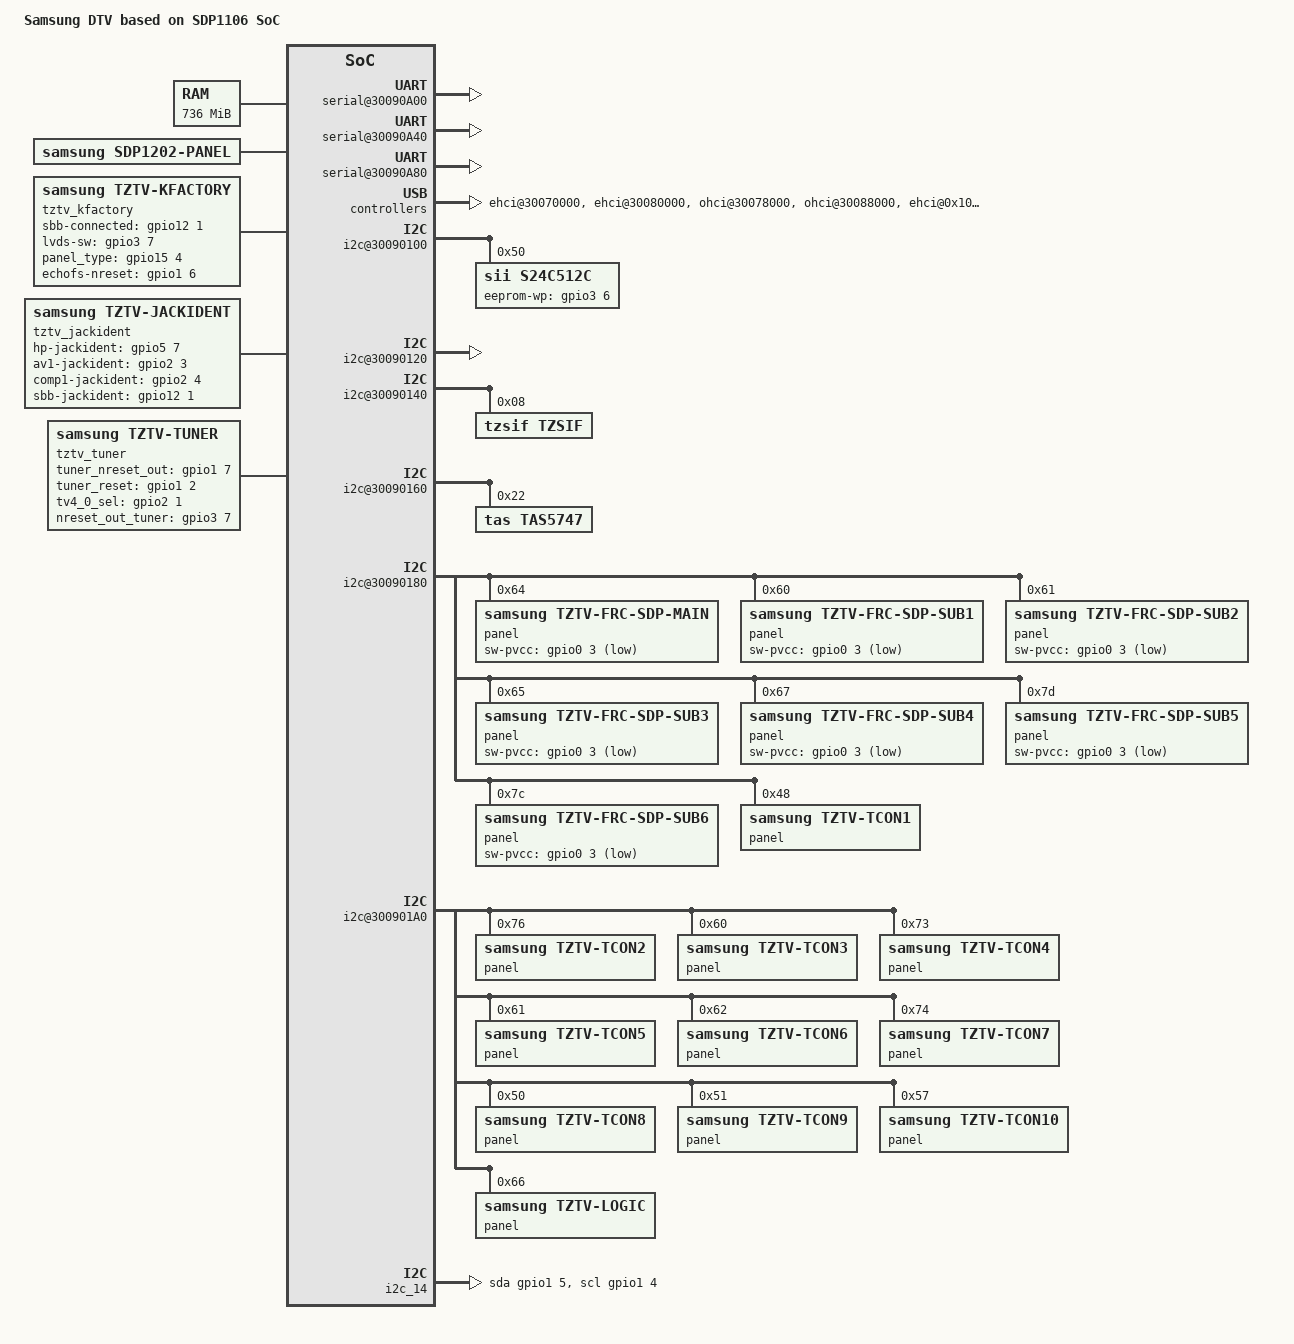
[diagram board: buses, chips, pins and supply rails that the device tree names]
/*
 * Copyright (C) 2014 Samsung Electronics Co.Ltd
 *
 * This program is free software; you can redistribute it and/or modify
 * it under the terms of the GNU General Public License version 2 as
 * published by the Free Software Foundation.
 */

/dts-v1/;
#include "sdp1106.dtsi"

/ {
	model = "Samsung DTV based on SDP1106 SoC";
	compatible = "samsung,sdp1106";

	memory {
		device_type = "memory";
		reg =  <0x40000000 0x16800000>, <0x80000000 0x8800000>, <0xA0000000 0xF000000>;
	};

	/* BEWARE: DO_NOT_TOUCH___RESERVED_SPACE_50b _must_ be at the end of the
	 * cmdline, ALWAYS! This is the RULE!
	 *
	 * Violators will be shot!
	 * Survivors will be shot again!
	 * I am not kidding.
	 *                          -- roman.pen
	 */
	chosen {
		bootargs = __STR__(root=/dev/mmcblk0p13 init=/sbin/init rootfstype=vdfs rw rootwait earlyprintk console=ttyS0,115200n8 SELP_ENABLE=20102011 onboot=0054-FTK-0015 vmalloc=550M maintv DO_NOT_TOUCH___RESERVED_SPACE_50b);

		boot-modes = <&shift_s_mode>, <&normal_trace_mode>, <&shift_s_trace_mode>;
	};

	fixed-rate-clocks {
		fin {
			compatible = "samsung,sdp-clock-fin";
			clock-frequency = <24000000>;
		};
	};


	serial@30090A00 {
		compatible = "samsung,sdp1304-uart-micom";
		status = "okay";
	};
	serial@30090A40 {
		status = "okay";
	};
	serial@30090A80 {			
		status = "okay";
	};

	pinctrl {
		compatible = "samsung,sdp-pinctrl";
		reg = <0x30090C00 0x294>;
		start-offset = <0x100>;
		nr-banks = <16> ;
		model-sel = <1>;	
	};
	
	ehci@30070000 {
		status = "okay";
	};

	ehci@30080000 {
		status = "okay";
	};

	ohci@30078000 {
		status = "okay";
	};

	ohci@30088000 {
		status = "okay";
	};

	sdp_mmap {
		compatible = "samsung,sdp-mmap";

		samsung,mfc-a = <0x0 0x57400000 0x1600000>;
		samsung,avd = <0x0 0x58A00000 0x600000>;
		samsung,dsp-enc = <0x0 0x59000000 0xF00000>;
		samsung,dp-enc = <0x0 0x59F00000 0x580000>;
		samsung,pvr = <0x0 0x5A480000 0x800000>;
		samsung,dp0 = <0x0 0x5AC80000 0x3100000>;
		samsung,dp1 = <0x0 0x5DD80000 0x1E80000>;
		samsung,se = <0x0 0x5FC00000 0x200000>;
		samsung,mhp-scaler = <0x0 0x5FE00000 0x100000>;
		samsung,ae0 = <0x0 0x88800000 0x1000000>;
		samsung,tsd = <0x0 0x89800000 0x200000>;
		samsung,mfc-b = <0x0 0x89A00000 0x4200000>;
		samsung,capture = <0x0 0x8DC00000 0x200000>;
		samsung,dp2 = <0x0 0x8DE00000 0x1A00000>;
		samsung,png = <0x0 0x8F800000 0x100000>;
		samsung,remote = <0x0 0xAF000000 0x1000000>;
	};

        panel: panel {
                compatible = "samsung,sdp1202-panel";

        };

        dummy_panel {
                compatible = "dummy_panel";

                panel = <&panel>;

                display-timings {
                        native-mode = <&timing0>;

                        timing0: timing-0 {
                                 clock-frequency = <0>;
                                 hactive = <1920>;
                                 vactive = <1080>;
                                 hfront-porch = <0>;
                                 hback-porch = <0>;
                                 hsync-len = <0>;
                                 vfront-porch = <0>;
                                 vback-porch = <0>;
                                 vsync-len = <0>;
                        };
                };
        };

	i2c@30090100 {
		status = "okay";
		samsung,i2c-sda-delay = <1>;
		samsung,i2c-max-bus-freq = <400000>;
		samsung,i2c-irq-status-reg = <0x300901F4>;
		samsung,i2c-cpu-affinity = <0>;
		s24c512c@50 {
			compatible = "sii,s24c512c";
			reg = <0x50>;
			samsung,eeprom-wp = <&gpio3 6 0>;
          };
	};

	i2c@30090120 {
		status = "okay";
		samsung,i2c-sda-delay = <1>;
		samsung,i2c-max-bus-freq = <400000>;
		samsung,i2c-irq-status-reg = <0x300901F4>;
		samsung,i2c-cpu-affinity = <0>;
	};

	i2c@30090140 { 
		status = "okay";
		samsung,i2c-sda-delay = <1>;
		samsung,i2c-max-bus-freq = <400000>;
		samsung,i2c-irq-status-reg = <0x300901F4>;
		samsung,i2c-cpu-affinity = <0>;
		
		 tzsif@08 {
		   compatible = "tzsif,tzsif";              
		   reg = <0x08>;
		 };
	};

	i2c@30090160 {
		status = "okay";
		samsung,i2c-sda-delay = <1>;
		samsung,i2c-max-bus-freq = <400000>;
		samsung,i2c-irq-status-reg = <0x300901F4>;
		samsung,i2c-cpu-affinity = <0>;
			
			tas5747@22 {
				compatible = "tas,tas5747";              
				reg = <0x22>;
		    };
	};

	i2c@30090180 {
		status = "okay";
		samsung,i2c-sda-delay = <1>;
		samsung,i2c-max-bus-freq = <400000>;
		samsung,i2c-irq-status-reg = <0x300901F4>;
		samsung,i2c-cpu-affinity = <0>;

			/* panel C8 */
			panel@64 {
				compatible = "samsung,tztv-frc-sdp-main";
				samsung,sw-pvcc = <&gpio0 3 1>;
				reg = <0x64>;
			};
			
			/* panel C0 SUB */
			panel@60 {
				compatible = "samsung,tztv-frc-sdp-sub1";
				samsung,sw-pvcc = <&gpio0 3 1>;
				reg = <0x60>;
			};

			/* panel C2 SUB */
			panel@61 {
				compatible = "samsung,tztv-frc-sdp-sub2";
				samsung,sw-pvcc = <&gpio0 3 1>;
				 reg = <0x61>;
			};
			
			/* panel CA SUB */
			panel@65 {
				compatible = "samsung,tztv-frc-sdp-sub3";
				samsung,sw-pvcc = <&gpio0 3 1>;
				reg = <0x65>;
			};

			/* panel CE SUB */
			panel@67 {
				compatible = "samsung,tztv-frc-sdp-sub4";
				samsung,sw-pvcc = <&gpio0 3 1>;
				reg = <0x67>;
			};
			

			/* panel FA SUB */ 
			panel@7D {
				compatible = "samsung,tztv-frc-sdp-sub5";
				samsung,sw-pvcc = <&gpio0 3 1>;
				reg = <0x7D>;
			};
			
			/* panel F8 SUB */ 
			panel@7C {
				compatible = "samsung,tztv-frc-sdp-sub6";
				samsung,sw-pvcc = <&gpio0 3 1>;
				reg = <0x7C>;
			};
			
			/* panel 0x90 */
			panel@48 {
				compatible = "samsung,tztv-tcon1";
				reg = <0x48>;
			};
		};

	i2c@300901A0 {
		status = "okay";
		samsung,i2c-sda-delay = <1>;
		samsung,i2c-max-bus-freq = <400000>;
		samsung,i2c-irq-status-reg = <0x300901F4>;
		samsung,i2c-cpu-affinity = <0>;
		
			/* panel 0xEC */ 
			panel@76 {
				compatible = "samsung,tztv-tcon2";
				reg = <0x76>;
			};

			/* panel 0xC0 */
			panel@60 {
				compatible = "samsung,tztv-tcon3";
				reg = <0x60>;
			};
			
			/* panel 0xE6 */
			panel@73 {
				compatible = "samsung,tztv-tcon4";
				reg = <0x73>;
			};
			

			/* panel 0xC2 */
			panel@61 {
				compatible = "samsung,tztv-tcon5";
				reg = <0x61>;
			};

			/* panel 0xC4 */
			panel@62 {
				compatible = "samsung,tztv-tcon6";
				reg = <0x62>;
			};

			/* panel 0xE8 */
			panel@74 {
				compatible = "samsung,tztv-tcon7";
				reg = <0x74>;
			};

			/* panel 0xA0 */
			panel@50 {
				compatible = "samsung,tztv-tcon8"; 
				reg = <0x50>;
			};
			
			/* panel 0xA2 */
			panel@51 {
				compatible = "samsung,tztv-tcon9"; 
				reg = <0x51>;
			};

			/* panel 0xAE */
			panel@57 {
				compatible = "samsung,tztv-tcon10";
				reg = <0x57>;
			};
			
			/* panel 0xCC */
			panel@66 {
				compatible = "samsung,tztv-logic";
				reg = <0x66>;
			};

	};
	
	ehci@0x100e0000 {
		status = "okay";
		samsung,sw-reset = <0x10090000 0x8f4 0x1000>;
		samsung,ehci-gpr_reg = <0x100a0000 0x10 0x2020>;
		samsung,ehci-gpr_reg1 = <0x100a0000 0x3c 0x0>;
		samsung,ehci-link-set =  <0x100a0000 0x14 0x803800>;
		samsung,vbus-enable = <0x10090000 0xcb4 0x00000030 0x02>;
	};

	ehci@0x100f0000 {
		status = "okay";
		samsung,sw-reset = <0x10090000 0x8f4 0x2000>;
		samsung,ehci-gpr_reg = <0x100a0000 0x18 0x2020>;
		samsung,ehci-link-set =  <0x100a0000 0x1c 0x803800>;
		samsung,vbus-enable = <0x10090000 0xcb4 0x00000300 0x04>;
	};

	usben {
		status = "okay";
		samsung,usb-enable = <&gpio0 1 0>;
	};

	tztv_kfactory {
		compatible = "samsung,tztv-kfactory";
		samsung,sbb-connected = <&gpio12 1 0>;
		samsung,lvds-sw = <&gpio3 7 0>;
		samsung,panel_type = <&gpio15 4 0>;
		samsung,echofs-nreset = <&gpio1 6 0>;  /* for parma-reset , kept same name for kfactory compatibility  */
    };
	
	tztv_jackident {
		compatible = "samsung,tztv-jackident";
		samsung,hp-jackident = <&gpio5 7 0>;
		samsung,av1-jackident = <&gpio2 3 0>;
		samsung,comp1-jackident = <&gpio2 4 0>;
		samsung,sbb-jackident = <&gpio12 1 0>;
	};
	
	tztv_sbb-interface {
		samsung,sbb-detect = <&gpio12 1 0>;
	};
	
	tztv_tuner {
		compatible = "samsung,tztv-tuner";
		samsung,tuner_nreset_out = <&gpio1 7 0>;
		samsung,tuner_reset = <&gpio1 2 0>;
		samsung,tv4_0_sel = <&gpio2 1 0>;
		samsung,nreset_out_tuner = <&gpio3 7 0>;
	};
	
	tztv_ksocket {
		compatible = "samsung,ksocket";
	};
	
	i2c_14: i2c-dimming {
		status = "okay";
		compatible = "i2c-gpio";
		gpios = <&gpio1 5 0>, <&gpio1 4 0>; //sda, scl
		#address-cells = <1>;
		#size-cells = <0>;
		speed-hz = <4000000>;
	};

		
};
